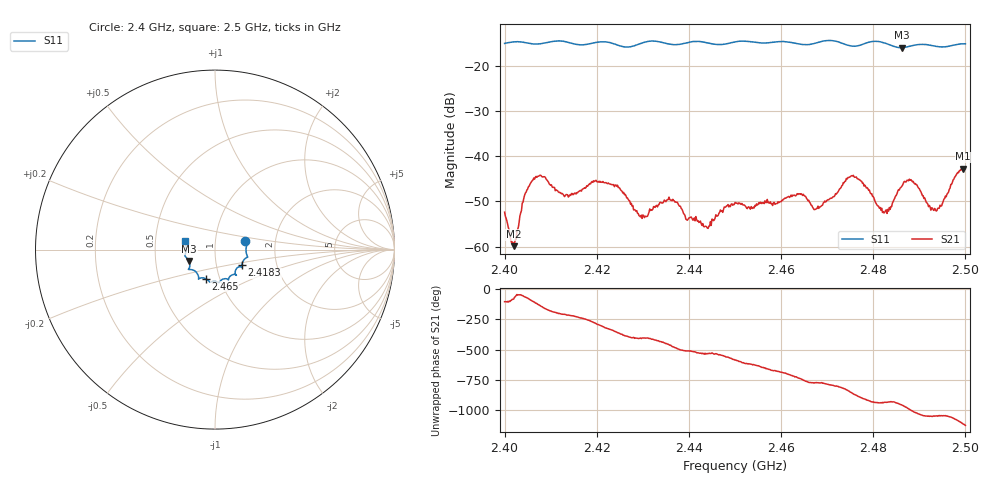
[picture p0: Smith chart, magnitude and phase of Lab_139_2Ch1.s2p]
# Hz S RI R 50
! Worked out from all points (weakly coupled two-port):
!   601 points, 2.4 GHz to 2.5 GHz, reference 50 ohm
!   highest |S21| = -42.75 dB at 2.4995 GHz (marker M1); lowest = -59.9 dB at 2.402 GHz (marker M2)
!   lowest |S11| = -16.1 dB at 2.4862 GHz (marker M3), VSWR 1.37, Z = 37.2 - j4.81 ohm
!   |S11| at or under -10 dB: start of sweep to end of sweep
!   S12 and S22 are empty: the file has one direction only
!   S11 on the Smith chart (normalised r, x): 2.4 GHz: 1.40, +0.13; 2.4183 GHz: 1.33, -0.24; 2.465 GHz: 0.86, -0.28; 2.5 GHz: 0.71, +0.07
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2.4e9  0.1692 0.0459  -0.000573 -0.00234  0 0  0 0
2.402e9  0.1786 0.0368  0.000164 -0.001  0 0  0 0
2.404333e9  0.1778 0.0252  0.00163 -0.00332  0 0  0 0
2.406667e9  0.1723 0.000911  -0.00244 -0.00532  0 0  0 0
2.413333e9  0.177 -0.0443  -0.00324 0.00194  0 0  0 0
2.416667e9  0.1547 -0.0679  -0.00214 0.00351  0 0  0 0
2.418333e9  0.15 -0.0872  -0.00101 0.00477  0 0  0 0
2.4245e9  0.1388 -0.0953  0.00478 -5.12e-05  0 0  0 0
2.429833e9  0.1136 -0.1358  0.00147 -0.00144  0 0  0 0
2.433333e9  0.1175 -0.1411  0.00116 -0.00265  0 0  0 0
2.437e9  0.09 -0.1437  -0.00179 -0.00254  0 0  0 0
2.443667e9  0.0701 -0.1649  -0.00168 -7.58e-05  0 0  0 0
2.45e9  0.0252 -0.1808  -0.00207 0.00228  0 0  0 0
2.465e9  -0.0525 -0.1615  0.00302 -0.00209  0 0  0 0
2.466667e9  -0.0714 -0.1571  0.0017 -0.0023  0 0  0 0
2.4755e9  -0.1054 -0.1251  -0.00471 -0.00381  0 0  0 0
2.483333e9  -0.1413 -0.0963  -0.00206 0.00138  0 0  0 0
2.486167e9  -0.1439 -0.0632  -0.00249 0.0039  0 0  0 0
2.488333e9  -0.1592 -0.0444  0.00142 0.00519  0 0  0 0
2.493667e9  -0.1623 -0.0126  0.00211 0.00129  0 0  0 0
2.4995e9  -0.1679 0.0446  0.00591 -0.00426  0 0  0 0
2.5e9  -0.1672 0.0469  0.00488 -0.00539  0 0  0 0
